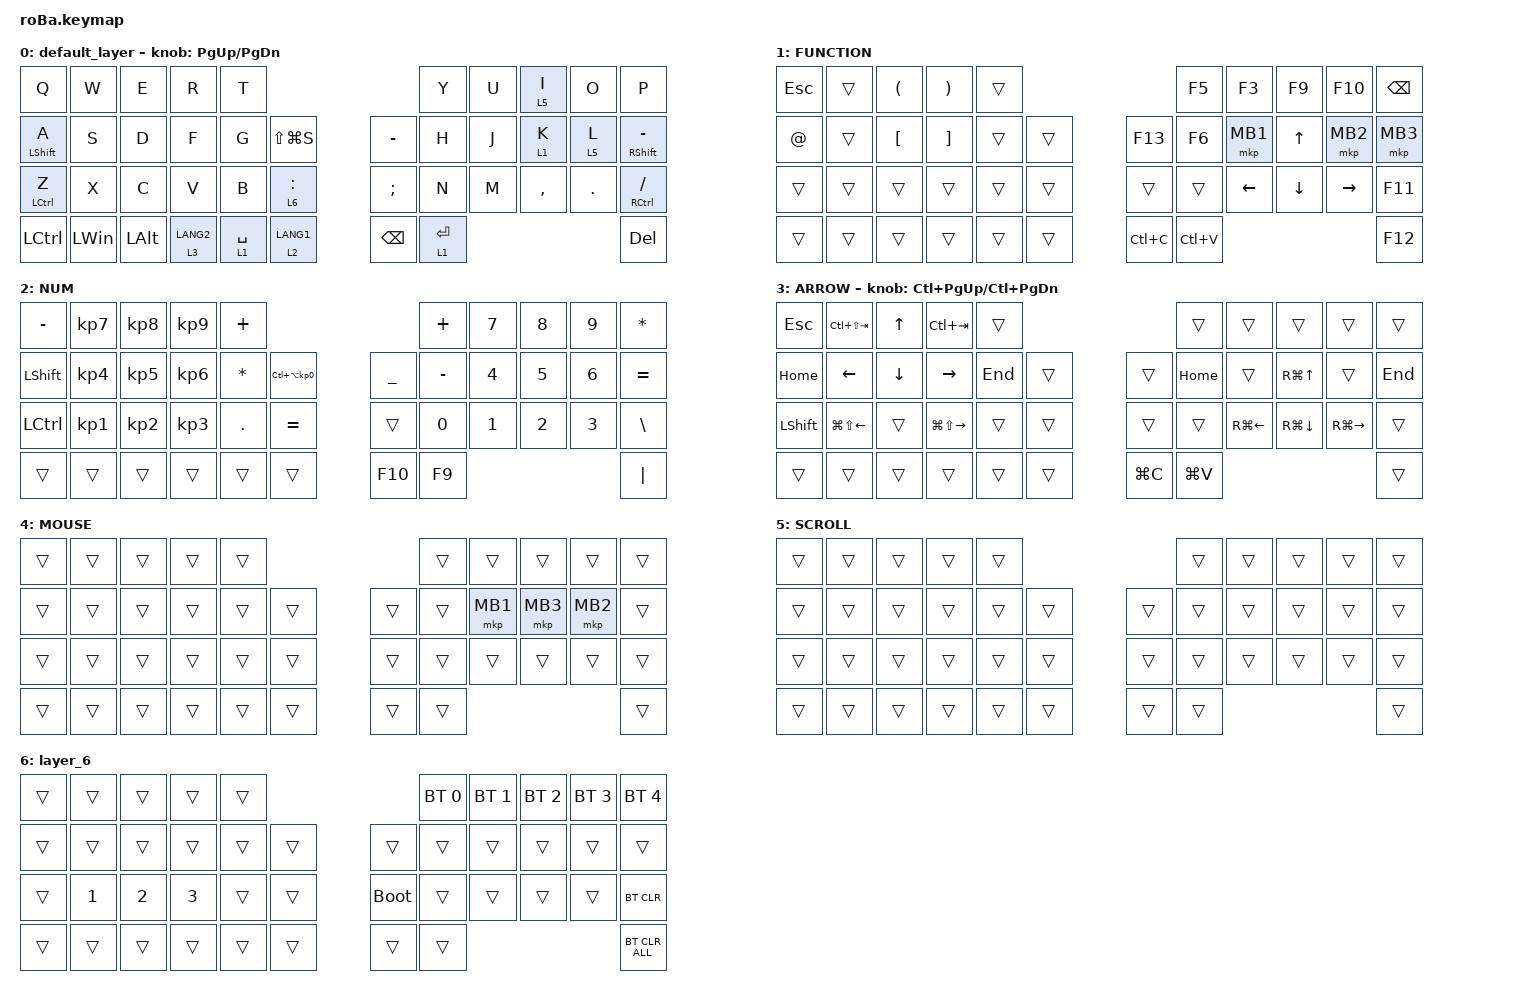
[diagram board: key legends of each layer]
#include <behaviors.dtsi>
#include <dt-bindings/zmk/bt.h>
#include <dt-bindings/zmk/keys.h>
#include <dt-bindings/zmk/pointing.h>

&mt {
    flavor = "tap-preferred";
    tapping-term-ms = <220>;
    quick-tap-ms = <0>;
    require-prior-idle-ms = <120>;
};

&trackball {
    automouse-layer = <4>;
    scroll-layers = <5>;

    // arrows {
    //     layers = <3>;
    //     bindings =
    //         <&kp RIGHT_ARROW>,
    //         <&kp LEFT_ARROW>,
    //         <&kp UP_ARROW>,
    //         <&kp DOWN_ARROW>;
    //     tick = <10>;
    //     wait-ms = <5>;
    //     tap-ms = <5>;
    // };
};

/ {
    combos {
        compatible = "zmk,combos";

        tab {
            bindings = <&kp TAB>;
            key-positions = <11 12>;
        };

        shift_tab {
            bindings = <&kp LS(TAB)>;
            key-positions = <12 13>;
        };

        muhennkann {
            bindings = <&to_layer_0 INT_MUHENKAN>;
            key-positions = <11 10>;
        };

        double_quotation {
            bindings = <&kp DOUBLE_QUOTES>;
            key-positions = <20 21>;
        };

        eq {
            bindings = <&kp EQUAL>;
            key-positions = <24 25>;
        };
    };

    macros {
        to_layer_0: to_layer_0 {
            compatible = "zmk,behavior-macro-one-param";
            #binding-cells = <1>;
            bindings = <&to 0 &macro_param_1to1 &kp MACRO_PLACEHOLDER>;
            label = "TO_LAYER_0";
        };
    };

    behaviors {
        lt_to_layer_0: lt_to_layer_0 {
            compatible = "zmk,behavior-hold-tap";
            label = "LAYER_TAP_TO_0";
            bindings = <&mo>, <&to_layer_0>;

            #binding-cells = <2>;
            tapping-term-ms = <120>;
        };
    };

    keymap {
        compatible = "zmk,keymap";

        default_layer {
            bindings = <
&kp Q               &kp W         &kp E         &kp R        &kp T                                                   &kp Y        &kp U  &lt 5 I    &kp O    &kp P
&mt LSHIFT A        &kp S         &kp D         &kp F        &kp G        &kp LS(LG(S))               &kp MINUS      &kp H        &kp J  &lt 1 K    &lt 5 L  &mt RIGHT_SHIFT MINUS
&mt LEFT_CONTROL Z  &kp X         &kp C         &kp V        &kp B        &lt 6 COLON                 &kp SEMICOLON  &kp N        &kp M  &kp COMMA  &kp DOT  &mt RCTRL SLASH
&kp LCTRL           &kp LEFT_WIN  &kp LEFT_ALT  &lt 3 LANG2  &lt 1 SPACE  &lt_to_layer_0 2 LANG1      &kp BACKSPACE  &lt 1 ENTER                             &kp DEL
            >;

            sensor-bindings = <&inc_dec_kp PG_UP PAGE_DOWN>;
        };

        FUNCTION {
            bindings = <
&kp ESC      &trans  &kp LEFT_PARENTHESIS  &kp RIGHT_PARENTHESIS  &trans                         &kp F5     &kp F3          &kp F9            &kp F10          &kp BACKSPACE
&kp AT_SIGN  &trans  &kp LEFT_BRACKET      &kp RIGHT_BRACKET      &trans  &trans      &kp F13    &kp F6     &mkp MB1        &kp UP_ARROW      &mkp MB2         &mkp MB3
&trans       &trans  &trans                &trans                 &trans  &trans      &trans     &trans     &kp LEFT_ARROW  &kp DOWN_ARROW    &kp RIGHT_ARROW  &kp F11
&trans       &trans  &trans                &trans                 &trans  &trans      &kp LC(C)  &kp LC(V)                                                     &kp F12
            >;
        };

        NUM {
            bindings = <
&kp MINUS         &kp KP_NUMBER_7  &kp KP_NUMBER_8  &kp KP_NUMBER_9  &kp PLUS                                                   &kp PLUS   &kp NUMBER_7  &kp NUMBER_8  &kp NUMBER_9  &kp ASTERISK
&kp LEFT_SHIFT    &kp KP_NUMBER_4  &kp KP_NUMBER_5  &kp KP_NUMBER_6  &kp ASTERISK  &kp LC(LA(KP_NUMBER_0))      &kp UNDERSCORE  &kp MINUS  &kp N4        &kp NUMBER_5  &kp N6        &kp EQUAL
&kp LEFT_CONTROL  &kp KP_NUMBER_1  &kp KP_NUMBER_2  &kp KP_NUMBER_3  &kp PERIOD    &kp EQUAL                    &trans          &kp N0     &kp N1        &kp N2        &kp N3        &kp BACKSLASH
&trans            &trans           &trans           &trans           &trans        &trans                       &kp F10         &kp F9                                               &kp PIPE
            >;
        };

        ARROW {
            bindings = <
&kp ESCAPE      &kp LC(LS(TAB))         &kp UP_ARROW    &kp LC(TAB)              &trans                          &trans     &trans              &trans              &trans               &trans
&kp HOME        &kp LEFT_ARROW          &kp DOWN_ARROW  &kp RIGHT_ARROW          &kp END  &trans      &trans     &kp HOME   &trans              &kp RG(UP_ARROW)    &trans               &kp END
&kp LEFT_SHIFT  &kp LG(LS(LEFT_ARROW))  &trans          &kp LG(LS(RIGHT_ARROW))  &trans   &trans      &trans     &trans     &kp RG(LEFT_ARROW)  &kp RG(DOWN_ARROW)  &kp RG(RIGHT_ARROW)  &trans
&trans          &trans                  &trans          &trans                   &trans   &trans      &kp LG(C)  &kp LG(V)                                                               &trans
            >;

            sensor-bindings = <&inc_dec_kp LC(PAGE_UP) LC(PAGE_DOWN)>;
        };

        MOUSE {
            bindings = <
&trans  &trans  &trans  &trans  &trans                      &trans  &trans    &trans    &trans    &trans
&trans  &trans  &trans  &trans  &trans  &trans      &trans  &trans  &mkp MB1  &mkp MB3  &mkp MB2  &trans
&trans  &trans  &trans  &trans  &trans  &trans      &trans  &trans  &trans    &trans    &trans    &trans
&trans  &trans  &trans  &trans  &trans  &trans      &trans  &trans                                &trans
            >;
        };

        SCROLL {
            bindings = <
&trans  &trans  &trans  &trans  &trans                      &trans  &trans  &trans  &trans  &trans
&trans  &trans  &trans  &trans  &trans  &trans      &trans  &trans  &trans  &trans  &trans  &trans
&trans  &trans  &trans  &trans  &trans  &trans      &trans  &trans  &trans  &trans  &trans  &trans
&trans  &trans  &trans  &trans  &trans  &trans      &trans  &trans                          &trans
            >;
        };

        layer_6 {
            bindings = <
&trans  &trans        &trans        &trans        &trans                           &bt BT_SEL 0  &bt BT_SEL 1  &bt BT_SEL 2  &bt BT_SEL 3  &bt BT_SEL 4
&trans  &trans        &trans        &trans        &trans  &trans      &trans       &trans        &trans        &trans        &trans        &trans
&trans  &kp NUMBER_1  &kp NUMBER_2  &kp NUMBER_3  &trans  &trans      &bootloader  &trans        &trans        &trans        &trans        &bt BT_CLR
&trans  &trans        &trans        &trans        &trans  &trans      &trans       &trans                                                  &bt BT_CLR_ALL
            >;
        };
    };
};
